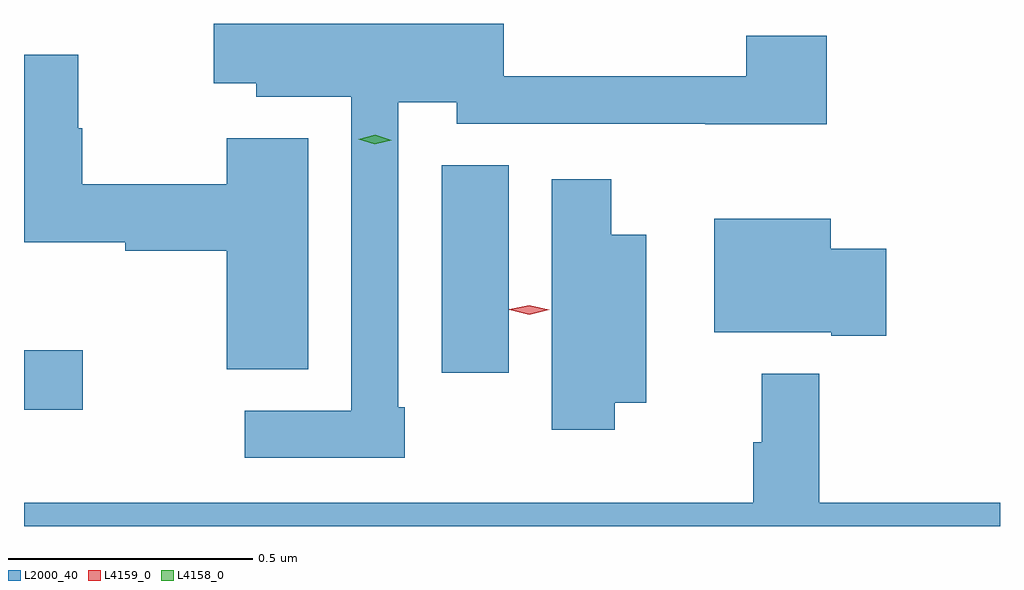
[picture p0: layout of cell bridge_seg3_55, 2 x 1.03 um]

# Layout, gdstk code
import gdstk
lib = gdstk.Library(unit=1e-6, precision=1e-09)
def R(c, l, rs):  # rectangles x0, y0, x1, y1
    for r in rs: c.add(gdstk.rectangle(r[:2], r[2:], *l))
def P(c, l, *ps):  # polygons
    for p in ps: c.add(gdstk.Polygon(p, *l))
L2000_40 = (2000, 40)
L4158_0 = (4158, 0)
L4159_0 = (4159, 0)

bridge_seg3_55 = lib.new_cell('bridge_seg3_55')
R(bridge_seg3_55, L2000_40, [(988.123,666.638,988.243,666.76), (988.979,666.714,989.116,667.139)])
P(bridge_seg3_55, L2000_40, [(988.903,666.643),(988.89,666.643),(988.89,667.268),(989.01,667.268),(989.01,667.224),(989.519,667.224),(989.519,667.223),(989.768,667.223),(989.768,667.405),(989.603,667.405),(989.603,667.322),(989.106,667.322),(989.106,667.429),(988.512,667.429),(988.512,667.307),(988.599,667.307),(988.599,667.28),(988.794,667.28),(988.794,666.636),(988.575,666.636),(988.575,666.54),(988.903,666.54)],
  [(988.705,667.195),(988.538,667.195),(988.538,667.1),(988.242,667.1),(988.242,667.215),(988.234,667.215),(988.234,667.366),(988.123,667.366),(988.123,666.982),(988.33,666.982),(988.33,666.964),(988.538,666.964),(988.538,666.721),(988.705,666.721)],
  [(989.334,666.653),(989.398,666.653),(989.398,666.997),(989.326,666.997),(989.326,667.111),(989.204,667.111),(989.204,666.597),(989.334,666.597)],
  [(989.89,666.968),(989.776,666.968),(989.776,667.03),(989.537,667.03),(989.537,666.797),(989.777,666.797),(989.777,666.79),(989.89,666.79)],
  [(989.635,666.712),(989.635,666.572),(989.617,666.572),(989.617,666.448),(988.123,666.448),(988.123,666.4),(990.123,666.4),(990.123,666.448),(989.753,666.448),(989.753,666.712)])
P(bridge_seg3_55, L4158_0, [(988.842,667.182),(988.808,667.193),(988.807,667.193),(988.808,667.193),(988.843,667.202),(988.877,667.191),(988.877,667.191),(988.877,667.191)])
P(bridge_seg3_55, L4159_0, [(989.158,666.833),(989.117,666.843),(989.117,666.843),(989.117,666.844),(989.158,666.853),(989.199,666.843),(989.199,666.843),(989.199,666.843)])

lib.write_gds('bridge_seg3_55.gds')
